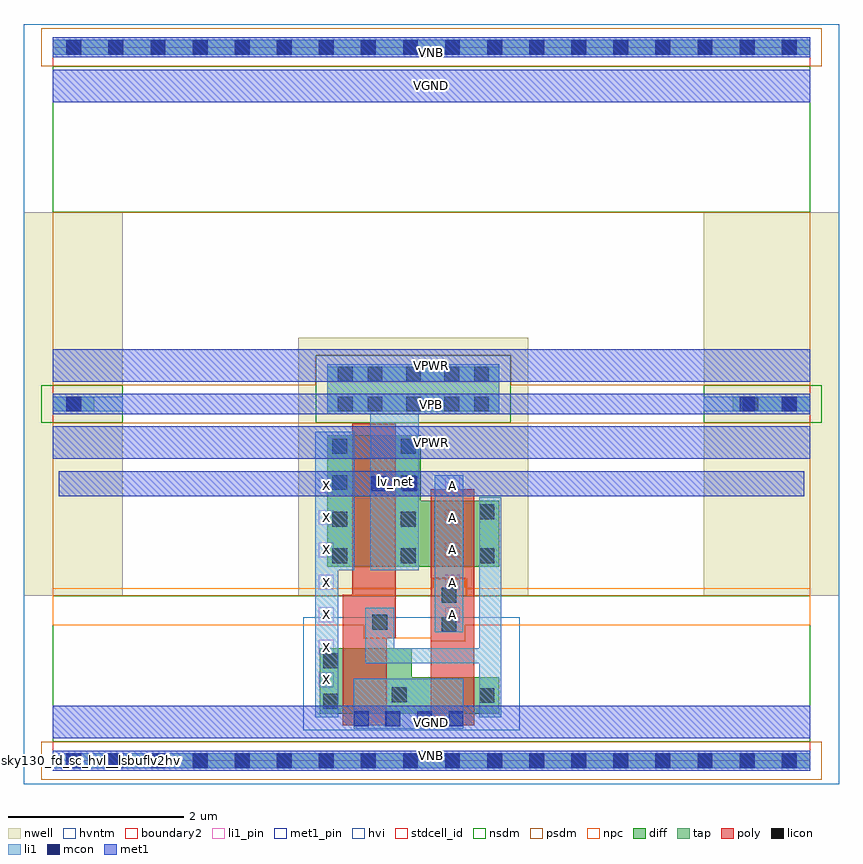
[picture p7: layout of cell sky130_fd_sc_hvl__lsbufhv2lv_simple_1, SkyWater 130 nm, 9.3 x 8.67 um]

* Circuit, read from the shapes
.subckt sky130_fd_sc_hvl__lsbufhv2lv_simple_1 A LVPWR VGND VNB VPB VPWR X
XM1 VGND n1 X VNB sky130_fd_pr__nfet_g5v0d10v5 w=0.75 l=0.5
XM2 n1 A VGND VNB sky130_fd_pr__nfet_g5v0d10v5 w=0.42 l=0.5
XM3 LVPWR n1 X LVPWR sky130_fd_pr__pfet_g5v0d10v5 w=1.5 l=0.5
XM4 n1 A LVPWR LVPWR sky130_fd_pr__pfet_g5v0d10v5 w=0.75 l=0.5
.ends

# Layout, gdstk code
import gdstk
lib = gdstk.Library(unit=1e-6, precision=1e-09)
def R(c, l, rs):  # rectangles x0, y0, x1, y1
    for r in rs: c.add(gdstk.rectangle(r[:2], r[2:], *l))
def A(c, l, x, y, w, h, nx, ny, dx, dy):  # array of equal rectangles
    R(c, l, [(x+i*dx, y+j*dy, x+i*dx+w, y+j*dy+h) for i in range(nx) for j in range(ny)])
def P(c, l, *ps):  # polygons
    for p in ps: c.add(gdstk.Polygon(p, *l))
nwell = (64, 20)
diff = (65, 20)
tap = (65, 44)
poly = (66, 20)
licon = (66, 44)
li1_pin = (67, 16)
li1 = (67, 20)
mcon = (67, 44)
met1_pin = (68, 16)
met1 = (68, 20)
hvi = (75, 20)
stdcell_id = (81, 4)
nsdm = (93, 44)
psdm = (94, 20)
npc = (95, 20)
hvntm = (125, 20)
boundary2 = (236, 0)

sky130_fd_sc_hvl__lsbufh = lib.new_cell('sky130_fd_sc_hvl__lsbufhv2lv_simple_1')
R(sky130_fd_sc_hvl__lsbufh, nwell, [(-0.33,1.885,0.8,6.255), (2.8,1.885,5.425,4.825), (7.425,1.885,8.97,6.255)])
P(sky130_fd_sc_hvl__lsbufh, diff, [(5.095,0.955),(4.095,0.955),(4.095,1.285),(3.045,1.285),(3.045,0.535),(5.095,0.535)],
  [(5.095,2.965),(4.2,2.965),(4.2,3.715),(3.13,3.715),(3.13,2.215),(5.095,2.215)])
R(sky130_fd_sc_hvl__lsbufh, tap, [(0,-0.085,8.64,0.085), (0,3.985,0.47,4.155), (3.13,3.985,5.095,4.495), (7.755,3.985,8.64,4.155), (0,8.055,8.64,8.225)])
R(sky130_fd_sc_hvl__lsbufh, poly, [(4.31,0.405,4.81,3.095)])
P(sky130_fd_sc_hvl__lsbufh, poly, [(3.915,3.845),(3.415,3.845),(3.415,1.895),(3.31,1.895),(3.31,0.405),(3.81,0.405),(3.81,1.395),(3.915,1.395)])
A(sky130_fd_sc_hvl__lsbufh, licon, 0.155, -0.085, 0.17, 0.17, 18, 2, 0.48, 8.14)
R(sky130_fd_sc_hvl__lsbufh, licon, [(3.085,0.595,3.255,0.765), (4.865,0.66,5.035,0.83), (3.865,0.67,4.035,0.84), (3.085,1.055,3.255,1.225), (4.435,1.465,4.605,1.635), (3.645,1.495,3.815,1.665), (4.435,1.805,4.605,1.975), (3.19,2.255,3.36,2.425), (3.97,2.255,4.14,2.425), (4.865,2.255,5.035,2.425), (3.19,2.67,3.36,2.84), (3.97,2.67,4.14,2.84), (4.865,2.755,5.035,2.925), (3.19,3.09,3.36,3.26), (3.97,3.09,4.14,3.26), (3.19,3.505,3.36,3.675), (3.97,3.505,4.14,3.675), (0.155,3.985,0.325,4.155), (3.25,3.985,3.42,4.155), (3.59,3.985,3.76,4.155), (4.03,3.985,4.2,4.155), (4.465,3.985,4.635,4.155), (4.805,3.985,4.975,4.155), (7.875,3.985,8.045,4.155), (8.315,3.985,8.485,4.155), (3.25,4.325,3.42,4.495), (3.59,4.325,3.76,4.495), (4.03,4.325,4.2,4.495), (4.465,4.325,4.635,4.495), (4.805,4.325,4.975,4.495)])
A(sky130_fd_sc_hvl__lsbufh, li1_pin, 3.035, 0.84, 0.17, 0.17, 1, 7, 0, 0.37)
A(sky130_fd_sc_hvl__lsbufh, li1_pin, 4.475, 1.58, 0.17, 0.17, 1, 5, 0, 0.37)
R(sky130_fd_sc_hvl__lsbufh, li1, [(0,-0.085,8.64,0.085), (3.435,0.365,4.685,0.935), (4.355,1.465,4.685,3.26), (0,3.985,0.8,4.155), (7.425,3.985,8.64,4.155), (0,8.055,8.64,8.225)])
P(sky130_fd_sc_hvl__lsbufh, li1, [(5.115,3.005),(4.865,3.005),(4.865,1.285),(3.895,1.285),(3.895,1.745),(3.565,1.745),(3.565,1.115),(4.865,1.115),(4.865,0.495),(5.115,0.495)],
  [(5.095,4.525),(3.13,4.525),(3.13,3.955),(3.62,3.955),(3.62,2.175),(4.175,2.175),(4.175,3.955),(5.095,3.955)],
  [(3.44,3.755),(2.995,3.755),(2.995,0.495),(3.255,0.495),(3.255,2.175),(3.44,2.175)])
A(sky130_fd_sc_hvl__lsbufh, mcon, 0.155, -0.085, 0.17, 0.17, 18, 2, 0.48, 8.14)
A(sky130_fd_sc_hvl__lsbufh, mcon, 3.435, 0.395, 0.17, 0.17, 4, 1, 0.36, 0)
R(sky130_fd_sc_hvl__lsbufh, mcon, [(3.63,3.075,3.8,3.245), (3.99,3.075,4.16,3.245), (0.155,3.985,0.325,4.155), (7.835,3.985,8.005,4.155), (8.315,3.985,8.485,4.155)])
R(sky130_fd_sc_hvl__lsbufh, met1_pin, [(0,0,8.64,0.115), (0,0.255,8.64,0.625), (0.07,3.02,8.57,3.305), (0,3.445,8.64,3.815), (0,3.955,8.64,4.185), (0,4.325,8.64,4.695), (0,7.515,8.64,7.885), (0,8.025,8.64,8.14)])
A(sky130_fd_sc_hvl__lsbufh, met1, 0, -0.115, 8.64, 0.23, 1, 3, 0, 4.07)
R(sky130_fd_sc_hvl__lsbufh, met1, [(0,0.255,8.64,0.625), (0.07,3.02,8.57,3.305), (0,3.445,8.64,3.815), (0,4.325,8.64,4.695), (0,7.515,8.64,7.885)])
R(sky130_fd_sc_hvl__lsbufh, hvi, [(-0.33,-0.265,8.97,8.405)])
R(sky130_fd_sc_hvl__lsbufh, stdcell_id, [(0,0,8.64,8.14)])
R(sky130_fd_sc_hvl__lsbufh, nsdm, [(0,0.215,8.64,1.885), (2.89,0.215,5.29,1.885), (-0.13,3.855,0.8,4.285), (3,3.855,5.225,4.625), (7.425,3.855,8.77,4.285), (0,6.255,8.64,7.925)])
R(sky130_fd_sc_hvl__lsbufh, psdm, [(-0.13,-0.215,8.77,0.215), (-0.13,7.925,8.77,8.355)])
P(sky130_fd_sc_hvl__lsbufh, psdm, [(8.64,3.855),(0,3.855),(0,1.885),(4.325,1.885),(4.325,2.085),(4.715,2.085),(4.715,1.885),(8.64,1.885)],
  [(8.64,6.255),(0,6.255),(0,4.285),(3,4.285),(3,4.625),(5.225,4.625),(5.225,4.285),(8.64,4.285)])
P(sky130_fd_sc_hvl__lsbufh, npc, [(8.64,1.97),(4.705,1.97),(4.705,2.075),(4.335,2.075),(4.335,1.97),(0,1.97),(0,1.545),(3.545,1.545),(3.545,1.395),(4.31,1.395),(4.31,1.365),(4.705,1.365),(4.705,1.545),(8.64,1.545)])
R(sky130_fd_sc_hvl__lsbufh, hvntm, [(2.855,0.35,5.325,1.64)])
R(sky130_fd_sc_hvl__lsbufh, boundary2, [(0,0,8.64,8.14)])
sky130_fd_sc_hvl__lsbufh.add(gdstk.Label('X', (3.12,2.775), layer=67, texttype=5))
sky130_fd_sc_hvl__lsbufh.add(gdstk.Label('A', (4.56,2.775), layer=67, texttype=5))
sky130_fd_sc_hvl__lsbufh.add(gdstk.Label('A', (4.56,3.145), layer=67, texttype=5))
sky130_fd_sc_hvl__lsbufh.add(gdstk.Label('X', (3.12,2.405), layer=67, texttype=5))
sky130_fd_sc_hvl__lsbufh.add(gdstk.Label('X', (3.12,2.035), layer=67, texttype=5))
sky130_fd_sc_hvl__lsbufh.add(gdstk.Label('A', (4.56,1.665), layer=67, texttype=5))
sky130_fd_sc_hvl__lsbufh.add(gdstk.Label('A', (4.56,2.405), layer=67, texttype=5))
sky130_fd_sc_hvl__lsbufh.add(gdstk.Label('X', (3.12,1.665), layer=67, texttype=5))
sky130_fd_sc_hvl__lsbufh.add(gdstk.Label('X', (3.12,1.295), layer=67, texttype=5))
sky130_fd_sc_hvl__lsbufh.add(gdstk.Label('X', (3.12,3.145), layer=67, texttype=5))
sky130_fd_sc_hvl__lsbufh.add(gdstk.Label('A', (4.56,2.035), layer=67, texttype=5))
sky130_fd_sc_hvl__lsbufh.add(gdstk.Label('X', (3.12,0.925), layer=67, texttype=5))
sky130_fd_sc_hvl__lsbufh.add(gdstk.Label('sky130_fd_sc_hvl__lsbuflv2hv_simple_1', (0,0), layer=83, texttype=44))
sky130_fd_sc_hvl__lsbufh.add(gdstk.Label('lv_net', (3.91,3.185), layer=83, texttype=44))
sky130_fd_sc_hvl__lsbufh.add(gdstk.Label('VPWR', (4.32,3.63), layer=68, texttype=5))
sky130_fd_sc_hvl__lsbufh.add(gdstk.Label('VPWR', (4.32,4.51), layer=68, texttype=5))
sky130_fd_sc_hvl__lsbufh.add(gdstk.Label('VGND', (4.32,7.7), layer=68, texttype=5))
sky130_fd_sc_hvl__lsbufh.add(gdstk.Label('VGND', (4.32,0.44), layer=68, texttype=5))
sky130_fd_sc_hvl__lsbufh.add(gdstk.Label('VNB', (4.32,0.058), layer=68, texttype=5))
sky130_fd_sc_hvl__lsbufh.add(gdstk.Label('LVPWR', (4.32,3.165), layer=68, texttype=5))
sky130_fd_sc_hvl__lsbufh.add(gdstk.Label('VPB', (4.32,4.068), layer=68, texttype=5))
sky130_fd_sc_hvl__lsbufh.add(gdstk.Label('VNB', (4.32,8.082), layer=68, texttype=5))

lib.write_gds('sky130_fd_sc_hvl__lsbufhv2lv_simple_1.gds')
